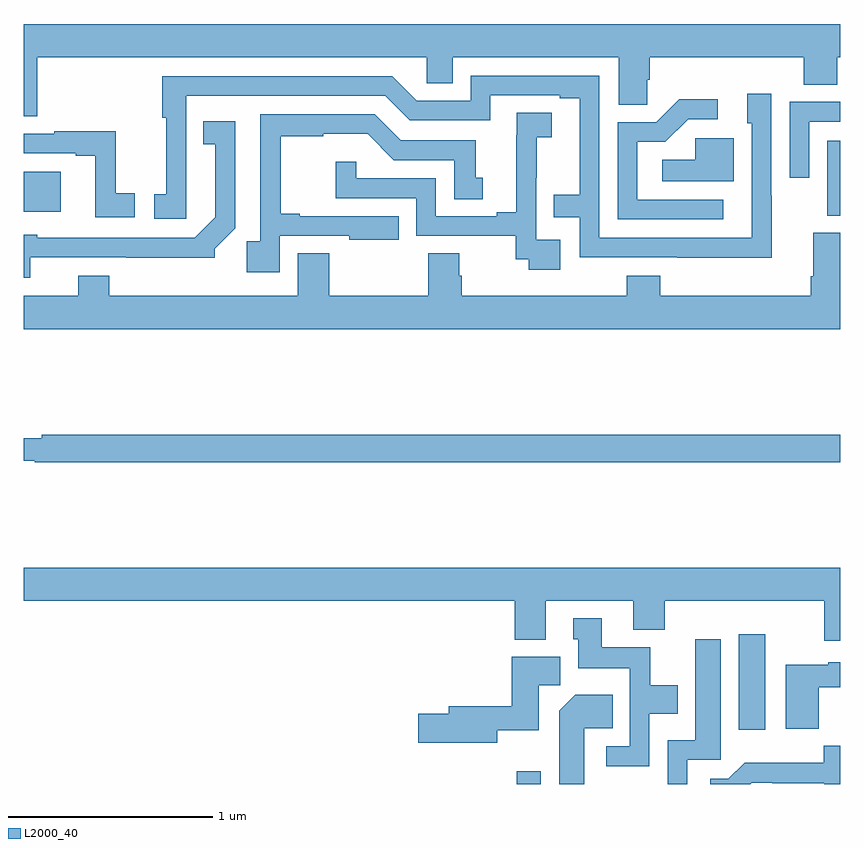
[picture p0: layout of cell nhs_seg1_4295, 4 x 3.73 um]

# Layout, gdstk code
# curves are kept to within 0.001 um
import gdstk
lib = gdstk.Library(unit=1e-6, precision=1e-09)
def R(c, l, rs):  # rectangles x0, y0, x1, y1
    for r in rs: c.add(gdstk.rectangle(r[:2], r[2:], *l))
def P(c, l, *ps):  # polygons
    for p in ps: c.add(gdstk.Polygon(p, *l))
L2000_40 = (2000, 40)

nhs_seg1_4295 = lib.new_cell('nhs_seg1_4295')
R(nhs_seg1_4295, L2000_40, [(347.416,520.199,347.532,520.261), (348.503,520.464,348.634,520.933), (348.938,522.985,349,523.351), (345,523.004,345.181,523.201)])
P(nhs_seg1_4295, L2000_40, [(345.065,523.76),(346.974,523.76),(346.974,523.633),(347.101,523.633),(347.101,523.76),(347.915,523.76),(347.915,523.528),(348.054,523.528),(348.054,523.651),(348.068,523.651),(348.068,523.76),(348.821,523.76),(348.821,523.627),(348.986,523.627),(348.986,523.76),(349,523.76),(349,523.924),(345,523.924),(345,523.471),(345.065,523.471)],
  [(348.665,523.082),(348.663,523.082),(348.663,523.582),(348.545,523.582),(348.545,523.437),(348.567,523.437),(348.567,522.876),(347.82,522.876),(347.82,523.671),(347.19,523.671),(347.19,523.548),(346.926,523.548),(346.806,523.668),(345.679,523.668),(345.679,523.465),(345.697,523.465),(345.697,523.089),(345.639,523.089),(345.639,522.969),(345.796,522.969),(345.795,523.572),(346.77,523.572),(346.89,523.452),(347.286,523.452),(347.286,523.575),(347.627,523.575),(347.627,523.56),(347.723,523.56),(347.723,523.087),(347.596,523.087),(347.596,522.978),(347.724,522.978),(347.724,522.78),(348.665,522.779)],
  [(348.427,523.062),(348.006,523.062),(348.006,523.347),(348.144,523.347),(348.255,523.458),(348.4,523.458),(348.4,523.556),(348.212,523.556),(348.099,523.443),(347.91,523.443),(347.91,522.966),(348.427,522.966)],
  [(348.849,523.446),(349,523.446),(349,523.542),(348.753,523.542),(348.753,523.17),(348.849,523.17)],
  [(347.629,522.867),(347.511,522.867),(347.511,523.171),(347.513,523.171),(347.513,523.369),(347.587,523.369),(347.587,523.49),(347.416,523.49),(347.416,523.379),(347.414,523.379),(347.414,523.001),(347.318,523.001),(347.318,522.981),(347.019,522.981),(347.019,523.167),(346.629,523.167),(346.629,523.249),(346.528,523.249),(346.528,523.071),(346.923,523.071),(346.923,522.885),(347.41,522.885),(347.41,522.771),(347.473,522.771),(347.473,522.72),(347.629,522.72)],
  [(346.254,522.885),(346.595,522.885),(346.595,522.866),(346.838,522.866),(346.838,522.981),(346.351,522.981),(346.351,522.994),(346.259,522.994),(346.259,523.374),(346.466,523.374),(346.466,523.385),(346.684,523.385),(346.812,523.257),(347.108,523.257),(347.108,523.066),(347.248,523.066),(347.248,523.17),(347.215,523.17),(347.215,523.353),(346.848,523.353),(346.719,523.482),(346.158,523.482),(346.158,522.859),(346.093,522.859),(346.093,522.708),(346.254,522.708)],
  [(345.03,522.78),(345.936,522.779),(345.936,522.823),(346.035,522.922),(346.035,523.447),(345.88,523.447),(345.88,523.334),(345.938,523.334),(345.938,522.977),(345.837,522.876),(345.066,522.876),(345.066,522.892),(345,522.892),(345,522.681),(345.03,522.681)],
  [(345.544,523.094),(345.45,523.094),(345.45,523.399),(345.148,523.399),(345.148,523.386),(345,523.386),(345,523.29),(345.254,523.29),(345.254,523.278),(345.35,523.278),(345.35,522.978),(345.544,522.978)],
  [(348.478,523.365),(348.291,523.365),(348.291,523.258),(348.129,523.258),(348.129,523.154),(348.478,523.154)],
  [(349,522.9),(348.869,522.9),(348.869,522.688),(348.857,522.688),(348.857,522.592),(348.119,522.592),(348.119,522.691),(347.954,522.691),(347.954,522.592),(347.147,522.592),(347.147,522.69),(347.134,522.69),(347.134,522.8),(346.982,522.8),(346.982,522.592),(346.496,522.592),(346.496,522.8),(346.343,522.8),(346.343,522.592),(345.419,522.592),(345.419,522.691),(345.266,522.691),(345.266,522.592),(345,522.592),(345,522.428),(349,522.428)],
  [(349,521.912),(345.088,521.912),(345.088,521.893),(345,521.893),(345,521.784),(345.052,521.784),(345.052,521.776),(349,521.776)],
  [(349,521.26),(345,521.26),(345,521.096),(347.405,521.096),(347.405,520.907),(347.557,520.907),(347.557,521.096),(347.987,521.096),(347.987,520.955),(348.14,520.955),(348.14,521.096),(348.923,521.096),(348.923,520.902),(349,520.902)],
  [(348.066,520.544),(348.205,520.544),(348.205,520.684),(348.069,520.684),(348.069,520.87),(347.833,520.87),(347.833,521.011),(347.693,521.011),(347.693,520.908),(347.717,520.908),(347.717,520.766),(347.97,520.766),(347.97,520.383),(347.853,520.383),(347.853,520.287),(348.066,520.287)],
  [(348.252,520.317),(348.415,520.317),(348.415,520.909),(348.29,520.909),(348.29,520.414),(348.156,520.414),(348.156,520.199),(348.252,520.199)],
  [(347.32,520.463),(347.524,520.463),(347.524,520.684),(347.629,520.684),(347.629,520.822),(347.39,520.822),(347.39,520.58),(347.081,520.58),(347.081,520.544),(346.932,520.544),(346.932,520.402),(347.32,520.402)],
  [(348.896,520.673),(349,520.673),(349,520.795),(348.942,520.795),(348.942,520.783),(348.734,520.783),(348.734,520.469),(348.896,520.469)],
  [(347.746,520.472),(347.885,520.472),(347.885,520.636),(347.702,520.636),(347.624,520.558),(347.624,520.199),(347.746,520.199)],
  [(348.568,520.206),(348.667,520.206),(348.667,520.203),(348.923,520.203),(348.923,520.199),(349,520.199),(349,520.387),(348.921,520.387),(348.921,520.303),(348.532,520.303),(348.453,520.224),(348.365,520.224),(348.365,520.199),(348.561,520.199)])

lib.write_gds('nhs_seg1_4295.gds')
